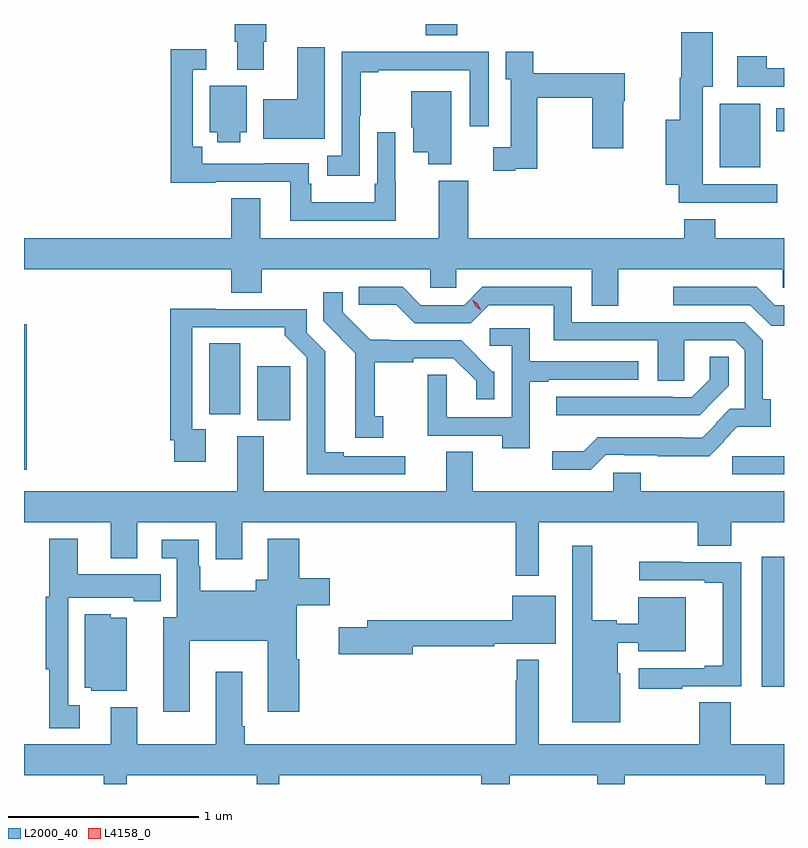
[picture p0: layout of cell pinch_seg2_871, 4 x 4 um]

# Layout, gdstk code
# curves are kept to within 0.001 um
import gdstk
lib = gdstk.Library(unit=1e-6, precision=1e-09)
def R(c, l, rs):  # rectangles x0, y0, x1, y1
    for r in rs: c.add(gdstk.rectangle(r[:2], r[2:], *l))
def P(c, l, *ps):  # polygons
    for p in ps: c.add(gdstk.Polygon(p, *l))
L2000_40 = (2000, 40)
L4158_0 = (4158, 0)

pinch_seg2_871 = lib.new_cell('pinch_seg2_871')
R(pinch_seg2_871, L2000_40, [(384.899,594.822,385.017,595.507), (384.744,595.941,385.017,596.037), (381.017,595.965,381.032,596.731), (382.244,596.225,382.417,596.509), (381.992,596.258,382.156,596.63), (384.68,597.557,384.892,597.892), (384.977,597.746,385.017,597.868), (383.132,598.253,383.297,598.311)])
P(pinch_seg2_871, L2000_40, [(382.279,598.218),(382.292,598.218),(382.292,598.311),(382.127,598.311),(382.127,598.218),(382.139,598.218),(382.139,598.07),(382.279,598.07)],
  [(384.982,597.468),(384.589,597.468),(384.589,597.98),(384.643,597.98),(384.643,598.267),(384.476,598.267),(384.476,598.029),(384.469,598.029),(384.469,597.808),(384.395,597.808),(384.395,597.464),(384.464,597.464),(384.464,597.371),(384.982,597.371)],
  [(382.6,598.189),(382.454,598.189),(382.454,597.916),(382.277,597.916),(382.277,597.707),(382.6,597.707)],
  [(382.974,597.482),(382.971,597.482),(382.971,597.742),(382.875,597.742),(382.875,597.469),(382.863,597.469),(382.863,597.373),(382.528,597.373),(382.528,597.471),(382.515,597.471),(382.515,597.577),(382.281,597.577),(382.281,597.576),(381.956,597.576),(381.956,597.664),(381.906,597.664),(381.906,598.071),(381.976,598.071),(381.976,598.177),(381.79,598.177),(381.79,597.798),(381.789,597.798),(381.789,597.475),(382.025,597.475),(382.025,597.48),(382.418,597.48),(382.418,597.276),(382.974,597.276)],
  [(382.785,597.829),(382.79,597.829),(382.79,598.056),(382.882,598.056),(382.882,598.068),(383.363,598.068),(383.363,597.774),(383.464,597.774),(383.464,598.164),(383.048,598.164),(383.048,598.166),(382.689,598.166),(382.689,597.618),(382.614,597.618),(382.614,597.513),(382.785,597.513)],
  [(383.603,597.548),(383.718,597.548),(383.718,597.922),(384.007,597.922),(384.007,597.657),(384.172,597.657),(384.172,597.905),(384.18,597.905),(384.18,598.051),(383.696,598.051),(383.696,598.165),(383.552,598.165),(383.552,598.02),(383.579,598.02),(383.579,597.662),(383.487,597.662),(383.487,597.538),(383.603,597.538)],
  [(385.017,598.077),(384.927,598.077),(384.927,598.141),(384.771,598.141),(384.771,597.981),(385.017,597.981)],
  [(382.156,597.74),(382.189,597.74),(382.189,597.985),(381.995,597.985),(381.995,597.74),(382.034,597.74),(382.034,597.689),(382.156,597.689)],
  [(383.266,597.958),(383.054,597.958),(383.054,597.768),(383.066,597.768),(383.066,597.635),(383.144,597.635),(383.144,597.572),(383.266,597.572)],
  [(384.145,597.02),(385.011,597.02),(385.011,596.922),(385.017,596.922),(385.017,597.184),(384.656,597.184),(384.656,597.283),(384.491,597.283),(384.491,597.184),(383.354,597.184),(383.354,597.487),(383.201,597.487),(383.201,597.184),(382.261,597.184),(382.261,597.395),(382.109,597.395),(382.109,597.184),(381.017,597.184),(381.017,597.02),(382.109,597.02),(382.109,596.896),(382.269,596.896),(382.269,597.02),(383.154,597.02),(383.154,596.922),(383.292,596.922),(383.292,597.02),(384.005,597.02),(384.005,596.827),(384.145,596.827)],
  [(384.078,596.043),(384.178,596.043),(384.178,596.04),(384.352,596.04),(384.352,596.036),(384.623,596.036),(384.702,596.115),(384.699,596.118),(384.771,596.19),(384.946,596.19),(384.946,596.337),(384.906,596.337),(384.906,596.646),(384.81,596.742),(383.901,596.742),(383.901,596.928),(383.43,596.928),(383.334,596.832),(383.106,596.832),(383.01,596.928),(382.78,596.928),(382.78,596.833),(382.976,596.833),(383.073,596.736),(383.367,596.736),(383.463,596.832),(383.805,596.832),(383.805,596.646),(384.353,596.646),(384.353,596.434),(384.493,596.434),(384.493,596.646),(384.759,596.646),(384.81,596.595),(384.81,596.286),(384.732,596.286),(384.657,596.211),(384.66,596.208),(384.586,596.134),(384.485,596.134),(384.485,596.137),(384.037,596.137),(383.962,596.062),(383.796,596.062),(383.796,595.964),(383.999,595.964)],
  [(385.017,596.832),(384.969,596.832),(384.873,596.928),(384.435,596.928),(384.435,596.832),(384.84,596.832),(384.949,596.724),(385.017,596.724)],
  [(382.909,596.246),(382.862,596.246),(382.862,596.53),(383.066,596.53),(383.066,596.553),(383.277,596.553),(383.396,596.434),(383.396,596.337),(383.493,596.337),(383.493,596.481),(383.482,596.481),(383.317,596.646),(382.939,596.646),(382.939,596.648),(382.84,596.648),(382.695,596.793),(382.695,596.899),(382.593,596.899),(382.593,596.749),(382.76,596.578),(382.76,596.133),(382.909,596.133)],
  [(383.023,596.037),(382.699,596.037),(382.699,596.057),(382.603,596.057),(382.602,596.589),(382.506,596.685),(382.506,596.811),(382.025,596.811),(382.025,596.813),(381.787,596.813),(381.787,596.119),(381.807,596.119),(381.807,596.007),(381.973,596.007),(381.973,596.179),(381.903,596.179),(381.903,596.715),(382.39,596.715),(382.39,596.672),(382.506,596.556),(382.506,595.941),(383.023,595.941)],
  [(383.68,596.427),(383.776,596.427),(383.776,596.439),(384.25,596.439),(384.25,596.535),(383.679,596.535),(383.679,596.711),(383.468,596.711),(383.468,596.617),(383.583,596.617),(383.583,596.241),(383.242,596.241),(383.242,596.465),(383.143,596.465),(383.143,596.145),(383.534,596.145),(383.534,596.079),(383.68,596.079)],
  [(384.646,596.327),(384.725,596.407),(384.725,596.56),(384.626,596.56),(384.626,596.441),(384.531,596.346),(384.431,596.346),(384.431,596.349),(383.817,596.349),(383.817,596.253),(384.573,596.253)],
  [(383.38,596.06),(383.24,596.06),(383.24,595.852),(382.279,595.852),(382.279,596.14),(382.139,596.14),(382.139,595.852),(381.017,595.852),(381.017,595.688),(381.473,595.688),(381.473,595.499),(381.613,595.499),(381.613,595.688),(382.025,595.688),(382.025,595.494),(382.165,595.494),(382.165,595.688),(383.604,595.688),(383.604,595.407),(383.725,595.407),(383.725,595.688),(384.563,595.688),(384.563,595.564),(384.74,595.564),(384.74,595.688),(385.017,595.688),(385.017,595.852),(384.264,595.852),(384.264,595.95),(384.117,595.95),(384.117,595.852),(383.38,595.852)],
  [(381.889,595.064),(382.301,595.064),(382.301,594.69),(382.466,594.69),(382.466,594.968),(382.453,594.968),(382.453,595.253),(382.627,595.253),(382.627,595.395),(382.466,595.395),(382.466,595.603),(382.301,595.603),(382.301,595.387),(382.238,595.387),(382.238,595.327),(381.945,595.327),(381.945,595.458),(381.937,595.458),(381.937,595.596),(381.741,595.596),(381.741,595.5),(381.821,595.5),(381.821,595.189),(381.749,595.189),(381.749,594.69),(381.889,594.69)],
  [(381.31,594.726),(381.25,594.726),(381.25,595.292),(381.594,595.292),(381.594,595.274),(381.736,595.274),(381.736,595.414),(381.301,595.414),(381.301,595.603),(381.149,595.603),(381.149,595.296),(381.132,595.296),(381.132,594.915),(381.149,594.915),(381.149,594.605),(381.31,594.605)],
  [(384.154,594.894),(384.142,594.894),(384.142,595.055),(384.251,595.055),(384.251,595.01),(384.499,595.01),(384.499,595.294),(384.251,595.294),(384.251,595.155),(384.138,595.155),(384.138,595.172),(384.007,595.172),(384.007,595.564),(383.903,595.564),(383.903,594.635),(384.154,594.635)],
  [(384.482,594.825),(384.792,594.825),(384.792,595.479),(384.479,595.479),(384.479,595.481),(384.255,595.481),(384.255,595.383),(384.599,595.383),(384.599,595.371),(384.695,595.371),(384.695,594.934),(384.599,594.934),(384.599,594.921),(384.252,594.921),(384.252,594.813),(384.482,594.813)],
  [(383.062,595.036),(383.492,595.036),(383.492,595.049),(383.815,595.049),(383.815,595.303),(383.588,595.303),(383.588,595.172),(382.823,595.172),(382.823,595.136),(382.674,595.136),(382.674,594.994),(383.062,594.994)],
  [(381.559,595.186),(381.474,595.186),(381.474,595.204),(381.338,595.204),(381.338,594.818),(381.372,594.818),(381.372,594.803),(381.559,594.803)],
  [(381.558,594.356),(382.241,594.356),(382.241,594.311),(382.36,594.311),(382.36,594.356),(383.423,594.356),(383.423,594.311),(383.574,594.311),(383.574,594.356),(384.034,594.356),(384.034,594.311),(384.18,594.311),(384.18,594.356),(384.917,594.356),(384.917,594.311),(385.017,594.311),(385.017,594.52),(384.737,594.52),(384.737,594.74),(384.571,594.74),(384.571,594.52),(383.725,594.52),(383.725,594.964),(383.61,594.964),(383.61,594.857),(383.604,594.857),(383.604,594.52),(382.178,594.52),(382.178,594.616),(382.165,594.616),(382.165,594.901),(382.025,594.901),(382.025,594.52),(381.613,594.52),(381.613,594.715),(381.473,594.715),(381.473,594.52),(381.017,594.52),(381.017,594.356),(381.436,594.356),(381.436,594.311),(381.558,594.311)])
P(pinch_seg2_871, L4158_0, [(383.421,596.805),(383.391,596.827),(383.376,596.861),(383.376,596.861),(383.376,596.861),(383.406,596.839),(383.422,596.805),(383.422,596.805)])

lib.write_gds('pinch_seg2_871.gds')
